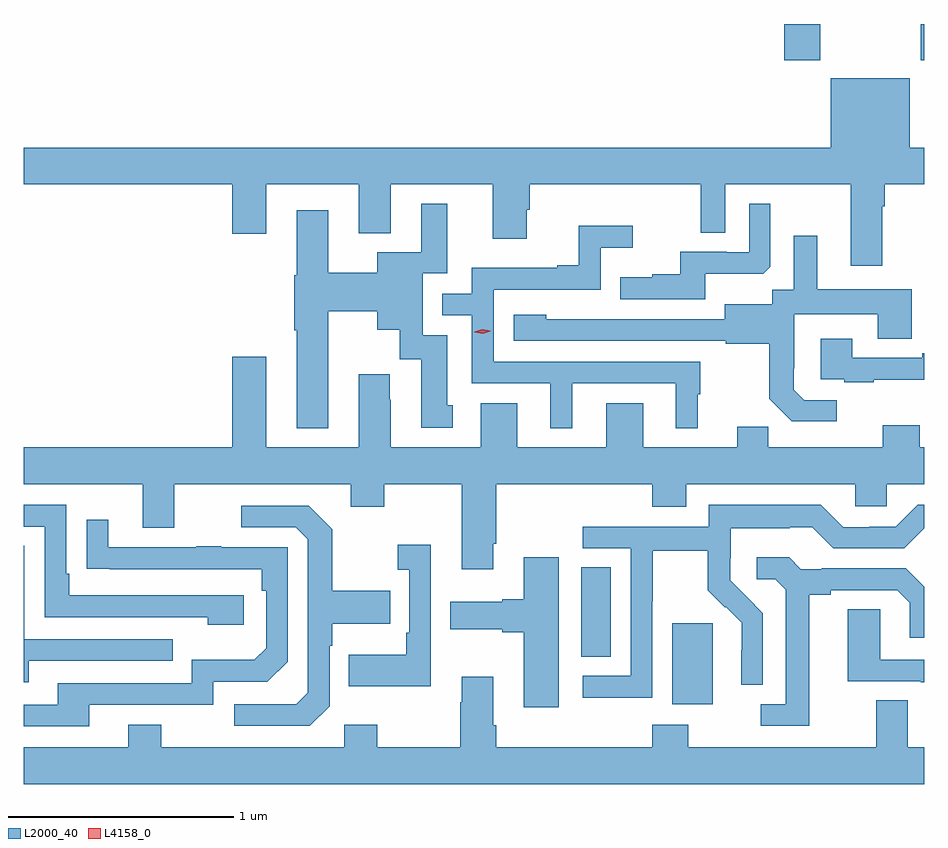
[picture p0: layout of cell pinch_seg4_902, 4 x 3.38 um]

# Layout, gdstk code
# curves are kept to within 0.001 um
import gdstk
lib = gdstk.Library(unit=1e-6, precision=1e-09)
def R(c, l, rs):  # rectangles x0, y0, x1, y1
    for r in rs: c.add(gdstk.rectangle(r[:2], r[2:], *l))
def P(c, l, *ps):  # polygons
    for p in ps: c.add(gdstk.Polygon(p, *l))
L2000_40 = (2000, 40)
L4158_0 = (4158, 0)

pinch_seg4_902 = lib.new_cell('pinch_seg4_902')
R(pinch_seg4_902, L2000_40, [(746.519,811.826,746.698,812.187), (746.114,812.038,746.245,812.435), (747.017,814.689,747.177,814.849), (747.622,814.689,747.638,814.849)])
P(pinch_seg4_902, L2000_40, [(747.224,814.3),(743.638,814.3),(743.638,814.136),(744.563,814.136),(744.563,813.918),(744.715,813.918),(744.715,814.136),(745.127,814.136),(745.127,813.92),(745.267,813.92),(745.267,814.136),(745.721,814.136),(745.721,813.894),(745.873,813.894),(745.873,814.023),(745.886,814.023),(745.886,814.136),(746.646,814.136),(746.646,813.922),(746.754,813.922),(746.754,814.136),(747.311,814.136),(747.311,813.774),(747.451,813.774),(747.451,814.04),(747.464,814.04),(747.464,814.136),(747.638,814.136),(747.638,814.3),(747.574,814.3),(747.574,814.609),(747.224,814.609)],
  [(746.665,813.74),(746.923,813.74),(746.955,813.771),(746.955,814.051),(746.862,814.051),(746.862,813.834),(746.762,813.834),(746.762,813.837),(746.555,813.837),(746.555,813.736),(746.431,813.736),(746.431,813.724),(746.287,813.724),(746.287,813.627),(746.665,813.627)],
  [(744.991,813.572),(745.208,813.572),(745.208,813.491),(745.307,813.491),(745.307,813.36),(745.403,813.36),(745.403,813.054),(745.543,813.054),(745.543,813.156),(745.519,813.156),(745.519,813.465),(745.41,813.465),(745.41,813.741),(745.519,813.741),(745.519,814.051),(745.403,814.051),(745.403,813.835),(745.208,813.835),(745.208,813.744),(744.991,813.744),(744.991,814.021),(744.851,814.021),(744.851,813.732),(744.839,813.732),(744.839,813.488),(744.851,813.488),(744.851,813.053),(744.991,813.053)],
  [(746.074,813.252),(746.534,813.252),(746.534,813.053),(746.632,813.053),(746.632,813.204),(746.644,813.204),(746.644,813.348),(745.725,813.348),(745.725,813.669),(746.202,813.669),(746.202,813.854),(746.344,813.854),(746.344,813.953),(746.104,813.953),(746.104,813.778),(746.009,813.778),(746.009,813.765),(745.629,813.765),(745.629,813.651),(745.496,813.651),(745.496,813.555),(745.629,813.555),(745.629,813.252),(745.976,813.252),(745.976,813.053),(746.074,813.053)],
  [(747.25,813.177),(747.105,813.177),(747.058,813.224),(747.058,813.319),(747.06,813.319),(747.06,813.56),(747.431,813.56),(747.431,813.451),(747.583,813.451),(747.583,813.67),(747.163,813.67),(747.163,813.907),(747.059,813.907),(747.059,813.668),(746.964,813.668),(746.964,813.604),(746.753,813.604),(746.753,813.537),(745.959,813.538),(745.959,813.556),(745.815,813.556),(745.815,813.441),(746.757,813.441),(746.757,813.429),(746.949,813.429),(746.949,813.183),(747.049,813.083),(747.25,813.083)],
  [(747.415,813.269),(747.638,813.269),(747.638,813.385),(747.629,813.385),(747.629,813.366),(747.319,813.366),(747.319,813.451),(747.179,813.451),(747.179,813.27),(747.283,813.27),(747.283,813.258),(747.415,813.258)],
  [(745.723,812.539),(745.736,812.539),(745.736,812.804),(746.429,812.804),(746.429,812.705),(746.581,812.705),(746.581,812.804),(747.333,812.804),(747.333,812.706),(747.471,812.706),(747.471,812.804),(747.638,812.804),(747.638,812.968),(747.619,812.968),(747.619,813.067),(747.455,813.067),(747.455,812.968),(746.945,812.968),(746.945,813.059),(746.807,813.059),(746.807,812.968),(746.389,812.968),(746.389,813.163),(746.225,813.163),(746.225,812.968),(745.831,812.968),(745.831,813.163),(745.667,813.163),(745.667,812.968),(745.267,812.968),(745.267,813.179),(745.264,813.179),(745.264,813.292),(745.127,813.292),(745.127,812.968),(744.715,812.968),(744.715,813.37),(744.563,813.37),(744.563,812.968),(743.638,812.968),(743.638,812.804),(744.167,812.804),(744.167,812.61),(744.307,812.61),(744.307,812.804),(745.091,812.804),(745.091,812.705),(745.239,812.705),(745.239,812.804),(745.583,812.804),(745.583,812.427),(745.723,812.427)],
  [(746.43,812.284),(746.433,812.284),(746.433,812.508),(746.677,812.508),(746.677,812.333),(746.754,812.256),(746.757,812.259),(746.828,812.189),(746.828,812.066),(746.826,812.066),(746.826,811.912),(746.922,811.912),(746.922,812.23),(746.776,812.378),(746.776,812.475),(746.778,812.475),(746.778,812.609),(747.041,812.609),(747.041,812.613),(747.141,812.613),(747.234,812.52),(747.549,812.52),(747.638,812.609),(747.638,812.712),(747.609,812.712),(747.513,812.616),(747.395,812.616),(747.395,812.613),(747.279,812.613),(747.179,812.713),(746.682,812.713),(746.682,812.616),(746.121,812.616),(746.121,812.52),(746.334,812.52),(746.334,811.953),(746.121,811.953),(746.121,811.855),(746.43,811.855)],
  [(744.616,812.31),(743.839,812.31),(743.839,812.407),(743.826,812.407),(743.826,812.712),(743.638,812.712),(743.638,812.616),(743.73,812.616),(743.73,812.214),(744.455,812.214),(744.455,812.18),(744.616,812.18)],
  [(744.996,811.818),(744.996,812.087),(745.009,812.087),(745.009,812.183),(745.265,812.183),(745.265,812.331),(745.009,812.331),(745.009,812.603),(744.903,812.709),(744.603,812.709),(744.603,812.613),(744.846,812.613),(744.9,812.559),(744.9,811.878),(744.849,811.827),(744.573,811.827),(744.573,811.731),(744.909,811.731)],
  [(743.929,811.824),(744.48,811.824),(744.48,811.926),(744.72,811.926),(744.81,812.016),(744.81,812.523),(744.515,812.523),(744.515,812.528),(744.403,812.528),(744.403,812.523),(744.013,812.523),(744.013,812.647),(743.917,812.647),(743.917,812.428),(744.694,812.427),(744.694,812.33),(744.714,812.33),(744.714,812.076),(744.661,812.023),(744.384,812.023),(744.384,811.92),(743.789,811.92),(743.789,811.824),(743.638,811.824),(743.638,811.728),(743.929,811.728)],
  [(745.446,812.536),(745.299,812.536),(745.299,812.423),(745.35,812.423),(745.35,812.143),(745.338,812.143),(745.338,812.047),(745.081,812.047),(745.081,811.907),(745.446,811.907)],
  [(743.659,812.019),(744.299,812.019),(744.299,812.115),(743.64,812.115),(743.64,812.531),(743.638,812.531),(743.638,811.925),(743.659,811.925)],
  [(746.014,812.479),(745.859,812.479),(745.859,812.294),(745.763,812.294),(745.763,812.281),(745.533,812.281),(745.533,812.159),(745.763,812.159),(745.763,812.147),(745.859,812.147),(745.859,811.812),(746.014,811.812)],
  [(747.127,812.312),(747.223,812.312),(747.223,812.334),(747.518,812.334),(747.575,812.277),(747.575,812.121),(747.638,812.121),(747.638,812.348),(747.556,812.43),(747.184,812.43),(747.184,812.427),(747.09,812.427),(747.038,812.479),(746.895,812.479),(746.895,812.382),(746.976,812.382),(747.023,812.335),(747.023,811.827),(746.913,811.827),(746.913,811.731),(747.127,811.731)],
  [(747.638,812.025),(747.444,812.025),(747.444,812.249),(747.299,812.249),(747.299,811.929),(747.623,811.929),(747.623,811.925),(747.638,811.925)],
  [(747.638,811.636),(747.565,811.636),(747.565,811.844),(747.425,811.844),(747.425,811.636),(746.589,811.636),(746.589,811.735),(746.429,811.735),(746.429,811.636),(745.736,811.636),(745.736,811.732),(745.723,811.732),(745.723,811.948),(745.583,811.948),(745.583,811.835),(745.576,811.835),(745.576,811.636),(745.209,811.636),(745.209,811.735),(745.062,811.735),(745.062,811.636),(744.249,811.636),(744.249,811.735),(744.101,811.735),(744.101,811.636),(743.638,811.636),(743.638,811.472),(747.638,811.472)])
P(pinch_seg4_902, L4158_0, [(745.676,813.472),(745.641,813.48),(745.64,813.48),(745.641,813.481),(745.674,813.492),(745.71,813.485),(745.71,813.484),(745.71,813.484)])

lib.write_gds('pinch_seg4_902.gds')
